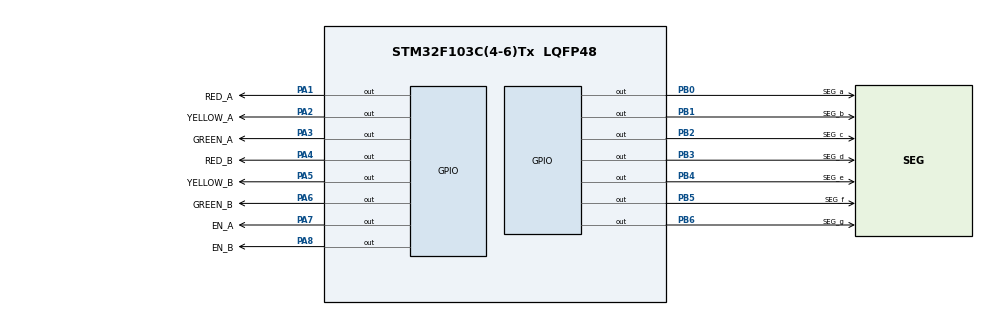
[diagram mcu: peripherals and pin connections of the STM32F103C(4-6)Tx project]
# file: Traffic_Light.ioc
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Mcu.Family=STM32F1
Mcu.Name=STM32F103C(4-6)Tx
Mcu.Package=LQFP48
NVIC.PriorityGroup=NVIC_PRIORITYGROUP_4
PA1.GPIO_Label=RED_A
PA1.Signal=GPIO_Output
PA2.GPIO_Label=YELLOW_A
PA2.Signal=GPIO_Output
PA3.GPIO_Label=GREEN_A
PA3.Signal=GPIO_Output
PA4.GPIO_Label=RED_B
PA4.Signal=GPIO_Output
PA5.GPIO_Label=YELLOW_B
PA5.Signal=GPIO_Output
PA6.GPIO_Label=GREEN_B
PA6.Signal=GPIO_Output
PA7.GPIO_Label=EN_A
PA7.Signal=GPIO_Output
PA8.GPIO_Label=EN_B
PA8.Signal=GPIO_Output
PB0.GPIO_Label=SEG_a
PB0.Signal=GPIO_Output
PB1.GPIO_Label=SEG_b
PB1.Signal=GPIO_Output
PB2.GPIO_Label=SEG_c
PB2.Signal=GPIO_Output
PB3.GPIO_Label=SEG_d
PB3.Signal=GPIO_Output
PB4.GPIO_Label=SEG_e
PB4.Signal=GPIO_Output
PB5.GPIO_Label=SEG_f
PB5.Signal=GPIO_Output
PB6.GPIO_Label=SEG_g
PB6.Signal=GPIO_Output
ProjectManager.HeapSize=0x200
ProjectManager.StackSize=0x400
ProjectManager.TargetToolchain=STM32CubeIDE
RCC.APB1Freq_Value=8000000
RCC.APB2Freq_Value=8000000
VP_SYS_VS_ND.Mode=No_Debug
board=custom

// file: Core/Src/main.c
/* USER CODE BEGIN Header */
/**
  ******************************************************************************
  * @file           : main.c
  * @brief          : Main program body
  ******************************************************************************
  * @attention
  *
  * <h2><center>&copy; Copyright (c) 2023 STMicroelectronics.
  * All rights reserved.</center></h2>
  *
  * This software component is licensed by ST under BSD 3-Clause license,
  * the "License"; You may not use this file except in compliance with the
  * License. You may obtain a copy of the License at:
  *                        opensource.org/licenses/BSD-3-Clause
  *
  ******************************************************************************
  */
/* USER CODE END Header */
#include "main.h"

void SystemClock_Config(void);
static void MX_GPIO_Init(void);

int main(void)
{

  /* MCU Configuration--------------------------------------------------------*/

  /* Reset of all peripherals, Initializes the Flash interface and the Systick. */
  HAL_Init();

  /* Configure the system clock */
  SystemClock_Config();

  /* Initialize all configured peripherals */
  MX_GPIO_Init();
  /* USER CODE BEGIN 2 */
  init_traffic_light();
  int period = 10;
  /* USER CODE END 2 */

  /* Infinite loop */
  /* USER CODE BEGIN WHILE */
  while (1)
    {
  	  run_traffic_light(SIDE_A, traffic_color[SIDE_A]);
  	  run_traffic_light(SIDE_B, traffic_color[SIDE_B]);
  	  period--;
  	  if(period <= 0){
  		  traffic_timer[SIDE_A]--;
  		  traffic_timer[SIDE_B]--;
  		  period = 10;
  	  }
  	  if(period % 2 == 0)
  		  display7SEG(SIDE_A, traffic_timer[SIDE_A]);
  	  if(period % 2 == 1)
  		  display7SEG(SIDE_B, traffic_timer[SIDE_B]);

  	  switch(traffic_color[SIDE_A]){
  	  case RED_LIGHT:
  		  if(traffic_timer[SIDE_A] <= 0 && traffic_timer[SIDE_B] <= 0){
  			  // SIDE_A: turn to green, SIDE_B: turn to red
  			  change_traffic_light(SIDE_A, GREEN_LIGHT);
  			  change_traffic_light(SIDE_B, RED_LIGHT);
  		  }
  		  if(traffic_timer[SIDE_B] <= 0){
  			  // SIDE_A: remain red, SIDE_B: turn yellow
  			  change_traffic_light(SIDE_B, YELLOW_LIGHT);
  		  }
  		  break;
  	  case GREEN_LIGHT:
  		  if(traffic_timer[SIDE_A] <= 0){
  			  // SIDE_A: turn yellow, SIDE_B: remain red
  			  change_traffic_light(SIDE_A, YELLOW_LIGHT);
  		  }
  		  break;
  	  case YELLOW_LIGHT:
  		  if(traffic_timer[SIDE_A] <= 0 && traffic_timer[SIDE_B] <= 0){
  			  // SIDE_A: turn to red, SIDE_B: turn to green
  			  change_traffic_light(SIDE_A, RED_LIGHT);
  			  change_traffic_light(SIDE_B, GREEN_LIGHT);
  		  }
  		  break;
  	  default:
  		  turn_all_light_off();
  		  break;
  	  }
  	  HAL_Delay(100);
      /* USER CODE END WHILE */

    }
}

void SystemClock_Config(void)
{
  RCC_OscInitTypeDef RCC_OscInitStruct = {0};
  RCC_ClkInitTypeDef RCC_ClkInitStruct = {0};

  /** Initializes the RCC Oscillators according to the specified parameters
  * in the RCC_OscInitTypeDef structure.
  */
  RCC_OscInitStruct.OscillatorType = RCC_OSCILLATORTYPE_HSI;
  RCC_OscInitStruct.HSIState = RCC_HSI_ON;
  RCC_OscInitStruct.HSICalibrationValue = RCC_HSICALIBRATION_DEFAULT;
  RCC_OscInitStruct.PLL.PLLState = RCC_PLL_NONE;
  if (HAL_RCC_OscConfig(&RCC_OscInitStruct) != HAL_OK)
  {
    Error_Handler();
  }
  /** Initializes the CPU, AHB and APB buses clocks
  */
  RCC_ClkInitStruct.ClockType = RCC_CLOCKTYPE_HCLK|RCC_CLOCKTYPE_SYSCLK
                              |RCC_CLOCKTYPE_PCLK1|RCC_CLOCKTYPE_PCLK2;
  RCC_ClkInitStruct.SYSCLKSource = RCC_SYSCLKSOURCE_HSI;
  RCC_ClkInitStruct.AHBCLKDivider = RCC_SYSCLK_DIV1;
  RCC_ClkInitStruct.APB1CLKDivider = RCC_HCLK_DIV1;
  RCC_ClkInitStruct.APB2CLKDivider = RCC_HCLK_DIV1;

  if (HAL_RCC_ClockConfig(&RCC_ClkInitStruct, FLASH_LATENCY_0) != HAL_OK)
  {
    Error_Handler();
  }
}

static void MX_GPIO_Init(void)
{
  GPIO_InitTypeDef GPIO_InitStruct = {0};

  /* GPIO Ports Clock Enable */
  __HAL_RCC_GPIOA_CLK_ENABLE();
  __HAL_RCC_GPIOB_CLK_ENABLE();

  /*Configure GPIO pin Output Level */
  HAL_GPIO_WritePin(GPIOA, RED_A_Pin|YELLOW_A_Pin|GREEN_A_Pin|RED_B_Pin
                          |YELLOW_B_Pin|GREEN_B_Pin|EN_A_Pin|EN_B_Pin, GPIO_PIN_RESET);

  /*Configure GPIO pin Output Level */
  HAL_GPIO_WritePin(GPIOB, SEG_a_Pin|SEG_b_Pin|SEG_c_Pin|SEG_d_Pin
                          |SEG_e_Pin|SEG_f_Pin|SEG_g_Pin, GPIO_PIN_RESET);

  /*Configure GPIO pins : RED_A_Pin YELLOW_A_Pin GREEN_A_Pin RED_B_Pin
                           YELLOW_B_Pin GREEN_B_Pin EN_A_Pin EN_B_Pin */
  GPIO_InitStruct.Pin = RED_A_Pin|YELLOW_A_Pin|GREEN_A_Pin|RED_B_Pin
                          |YELLOW_B_Pin|GREEN_B_Pin|EN_A_Pin|EN_B_Pin;
  GPIO_InitStruct.Mode = GPIO_MODE_OUTPUT_PP;
  GPIO_InitStruct.Pull = GPIO_NOPULL;
  GPIO_InitStruct.Speed = GPIO_SPEED_FREQ_LOW;
  HAL_GPIO_Init(GPIOA, &GPIO_InitStruct);

  /*Configure GPIO pins : SEG_a_Pin SEG_b_Pin SEG_c_Pin SEG_d_Pin
                           SEG_e_Pin SEG_f_Pin SEG_g_Pin */
  GPIO_InitStruct.Pin = SEG_a_Pin|SEG_b_Pin|SEG_c_Pin|SEG_d_Pin
                          |SEG_e_Pin|SEG_f_Pin|SEG_g_Pin;
  GPIO_InitStruct.Mode = GPIO_MODE_OUTPUT_PP;
  GPIO_InitStruct.Pull = GPIO_NOPULL;
  GPIO_InitStruct.Speed = GPIO_SPEED_FREQ_LOW;
  HAL_GPIO_Init(GPIOB, &GPIO_InitStruct);

}

void Error_Handler(void)
{
  __disable_irq();
  while (1)
  {
  }
}

/************************ (C) COPYRIGHT STMicroelectronics *****END OF FILE****/
